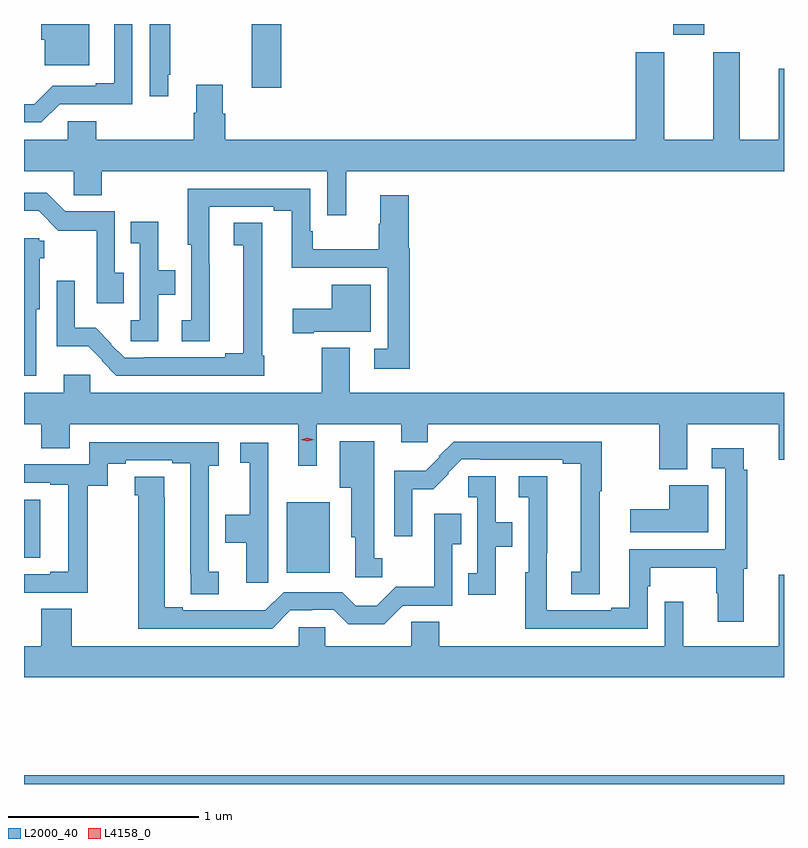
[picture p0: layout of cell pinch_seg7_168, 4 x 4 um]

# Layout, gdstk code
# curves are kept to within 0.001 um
import gdstk
lib = gdstk.Library(unit=1e-6, precision=1e-09)
def R(c, l, rs):  # rectangles x0, y0, x1, y1
    for r in rs: c.add(gdstk.rectangle(r[:2], r[2:], *l))
def P(c, l, *ps):  # polygons
    for p in ps: c.add(gdstk.Polygon(p, *l))
L2000_40 = (2000, 40)
L4158_0 = (4158, 0)

pinch_seg7_168 = lib.new_cell('pinch_seg7_168')
R(pinch_seg7_168, L2000_40, [(1120.076,1033.354,1124.076,1033.4), (1121.459,1034.465,1121.686,1034.836), (1120.076,1034.546,1120.162,1034.851), (1121.275,1037.019,1121.429,1037.354), (1123.493,1037.298,1123.657,1037.354)])
P(pinch_seg7_168, L2000_40, [(1120.42,1037.354),(1120.166,1037.354),(1120.166,1037.271),(1120.184,1037.271),(1120.184,1037.138),(1120.42,1037.138)],
  [(1120.263,1036.932),(1120.647,1036.932),(1120.647,1037.354),(1120.55,1037.354),(1120.55,1037.041),(1120.454,1037.041),(1120.454,1037.028),(1120.227,1037.028),(1120.131,1036.932),(1120.076,1036.932),(1120.076,1036.836),(1120.167,1036.836)],
  [(1120.834,1037.086),(1120.846,1037.086),(1120.846,1037.354),(1120.737,1037.354),(1120.737,1036.974),(1120.834,1036.974)],
  [(1121.771,1036.58),(1124.076,1036.58),(1124.076,1037.119),(1124.048,1037.119),(1124.048,1036.744),(1123.843,1036.744),(1123.843,1037.206),(1123.703,1037.206),(1123.703,1036.744),(1123.447,1036.744),(1123.447,1037.206),(1123.295,1037.206),(1123.295,1036.744),(1121.135,1036.744),(1121.135,1036.881),(1121.122,1036.881),(1121.122,1037.035),(1120.982,1037.035),(1120.982,1036.886),(1120.97,1036.886),(1120.97,1036.744),(1120.457,1036.744),(1120.457,1036.842),(1120.305,1036.842),(1120.305,1036.744),(1120.076,1036.744),(1120.076,1036.58),(1120.338,1036.58),(1120.338,1036.453),(1120.485,1036.453),(1120.485,1036.58),(1121.673,1036.58),(1121.673,1036.347),(1121.771,1036.347)],
  [(1122.107,1036.174),(1122.101,1036.174),(1122.101,1036.453),(1121.951,1036.453),(1121.951,1036.302),(1121.944,1036.302),(1121.944,1036.168),(1121.596,1036.168),(1121.596,1036.264),(1121.583,1036.264),(1121.583,1036.488),(1120.937,1036.488),(1120.937,1036.191),(1120.956,1036.191),(1120.956,1035.796),(1120.905,1035.796),(1120.905,1035.685),(1121.054,1035.685),(1121.054,1036.091),(1121.052,1036.091),(1121.052,1036.392),(1121.39,1036.392),(1121.39,1036.372),(1121.486,1036.372),(1121.486,1036.071),(1121.991,1036.071),(1121.991,1035.645),(1121.919,1035.645),(1121.919,1035.54),(1122.107,1035.54)],
  [(1120.601,1036.046),(1120.554,1036.046),(1120.554,1036.368),(1120.293,1036.368),(1120.196,1036.465),(1120.076,1036.465),(1120.076,1036.37),(1120.154,1036.37),(1120.256,1036.267),(1120.458,1036.267),(1120.458,1035.885),(1120.601,1035.885)],
  [(1120.782,1035.93),(1120.871,1035.93),(1120.871,1036.058),(1120.783,1036.058),(1120.783,1036.312),(1120.639,1036.312),(1120.639,1036.199),(1120.686,1036.199),(1120.686,1035.796),(1120.637,1035.796),(1120.637,1035.685),(1120.782,1035.685)],
  [(1121.341,1035.607),(1121.329,1035.607),(1121.329,1036.307),(1121.181,1036.307),(1121.181,1036.189),(1121.231,1036.189),(1121.231,1035.62),(1121.135,1035.62),(1121.135,1035.6),(1120.705,1035.6),(1120.705,1035.597),(1120.605,1035.597),(1120.533,1035.669),(1120.536,1035.672),(1120.453,1035.755),(1120.344,1035.755),(1120.344,1036.003),(1120.248,1036.003),(1120.248,1035.657),(1120.414,1035.657),(1120.487,1035.584),(1120.484,1035.581),(1120.562,1035.504),(1121.341,1035.504)],
  [(1120.14,1035.852),(1120.159,1035.852),(1120.159,1036.122),(1120.183,1036.122),(1120.183,1036.212),(1120.155,1036.212),(1120.155,1036.227),(1120.076,1036.227),(1120.076,1035.503),(1120.14,1035.503)],
  [(1121.602,1035.734),(1121.902,1035.734),(1121.902,1035.982),(1121.696,1035.982),(1121.696,1035.856),(1121.49,1035.856),(1121.49,1035.727),(1121.602,1035.727)],
  [(1123.567,1035.248),(1124.048,1035.248),(1124.048,1035.06),(1124.076,1035.06),(1124.076,1035.412),(1121.791,1035.412),(1121.791,1035.649),(1121.644,1035.649),(1121.644,1035.412),(1120.425,1035.412),(1120.425,1035.507),(1120.286,1035.507),(1120.286,1035.412),(1120.076,1035.412),(1120.076,1035.248),(1120.166,1035.248),(1120.166,1035.121),(1120.318,1035.121),(1120.318,1035.248),(1121.519,1035.248),(1121.519,1035.03),(1121.616,1035.03),(1121.616,1035.248),(1122.062,1035.248),(1122.062,1035.153),(1122.201,1035.153),(1122.201,1035.248),(1123.42,1035.248),(1123.42,1035.011),(1123.567,1035.011)],
  [(1121.961,1034.541),(1121.92,1034.541),(1121.92,1035.157),(1121.738,1035.157),(1121.738,1034.912),(1121.798,1034.912),(1121.798,1034.652),(1121.819,1034.652),(1121.819,1034.442),(1121.961,1034.442)],
  [(1123.105,1034.896),(1123.117,1034.896),(1123.117,1035.156),(1122.338,1035.156),(1122.26,1035.079),(1122.263,1035.077),(1122.19,1035.004),(1122.024,1035.004),(1122.024,1034.658),(1122.12,1034.658),(1122.12,1034.906),(1122.229,1034.906),(1122.312,1034.988),(1122.309,1034.991),(1122.381,1035.063),(1122.481,1035.063),(1122.481,1035.06),(1122.911,1035.06),(1122.911,1035.04),(1123.007,1035.04),(1123.007,1034.472),(1122.957,1034.472),(1122.957,1034.353),(1123.105,1034.353)],
  [(1121.101,1034.472),(1121.049,1034.472),(1121.049,1035.029),(1121.101,1035.029),(1121.101,1035.153),(1120.419,1035.153),(1120.419,1035.036),(1120.076,1035.036),(1120.076,1034.94),(1120.214,1034.94),(1120.214,1034.928),(1120.31,1034.928),(1120.31,1034.47),(1120.214,1034.47),(1120.214,1034.457),(1120.076,1034.457),(1120.076,1034.361),(1120.412,1034.361),(1120.412,1034.924),(1120.516,1034.924),(1120.516,1035.039),(1120.612,1035.039),(1120.612,1035.057),(1120.856,1035.057),(1120.856,1035.042),(1120.952,1035.042),(1120.952,1034.461),(1120.953,1034.461),(1120.953,1034.353),(1121.101,1034.353)],
  [(1121.362,1035.151),(1121.214,1035.151),(1121.214,1035.045),(1121.264,1035.045),(1121.264,1034.77),(1121.134,1034.77),(1121.134,1034.623),(1121.246,1034.623),(1121.246,1034.412),(1121.362,1034.412)],
  [(1123.359,1034.396),(1123.372,1034.396),(1123.372,1034.492),(1123.72,1034.492),(1123.72,1034.358),(1123.727,1034.358),(1123.727,1034.208),(1123.864,1034.208),(1123.864,1034.486),(1123.883,1034.486),(1123.883,1035.008),(1123.865,1035.008),(1123.865,1035.121),(1123.695,1035.121),(1123.695,1035.015),(1123.767,1035.015),(1123.767,1034.589),(1123.262,1034.589),(1123.262,1034.281),(1123.166,1034.281),(1123.166,1034.268),(1122.828,1034.268),(1122.828,1034.569),(1122.83,1034.569),(1122.83,1034.975),(1122.681,1034.975),(1122.681,1034.864),(1122.732,1034.864),(1122.732,1034.469),(1122.713,1034.469),(1122.713,1034.172),(1123.359,1034.172)],
  [(1122.559,1034.602),(1122.647,1034.602),(1122.647,1034.731),(1122.558,1034.731),(1122.558,1034.975),(1122.413,1034.975),(1122.413,1034.864),(1122.462,1034.864),(1122.462,1034.462),(1122.415,1034.462),(1122.415,1034.349),(1122.559,1034.349)],
  [(1121.478,1034.268),(1121.594,1034.268),(1121.594,1034.271),(1121.706,1034.271),(1121.782,1034.195),(1121.972,1034.195),(1122.069,1034.292),(1122.33,1034.292),(1122.33,1034.615),(1122.377,1034.615),(1122.377,1034.776),(1122.234,1034.776),(1122.234,1034.393),(1122.032,1034.393),(1121.932,1034.293),(1121.822,1034.293),(1121.751,1034.364),(1121.442,1034.364),(1121.347,1034.269),(1120.912,1034.268),(1120.912,1034.283),(1120.816,1034.283),(1120.815,1034.972),(1120.658,1034.972),(1120.658,1034.874),(1120.676,1034.874),(1120.676,1034.172),(1121.382,1034.172)],
  [(1123.678,1034.926),(1123.472,1034.926),(1123.472,1034.8),(1123.266,1034.8),(1123.266,1034.678),(1123.678,1034.678)],
  [(1124.076,1034.455),(1124.048,1034.455),(1124.048,1034.08),(1123.547,1034.08),(1123.547,1034.314),(1123.449,1034.314),(1123.449,1034.08),(1122.261,1034.08),(1122.261,1034.207),(1122.114,1034.207),(1122.114,1034.08),(1121.661,1034.08),(1121.661,1034.178),(1121.523,1034.178),(1121.523,1034.08),(1120.326,1034.08),(1120.326,1034.276),(1120.166,1034.276),(1120.166,1034.08),(1120.076,1034.08),(1120.076,1033.916),(1124.076,1033.916)])
P(pinch_seg7_168, L4158_0, [(1121.568,1035.157),(1121.533,1035.167),(1121.532,1035.167),(1121.533,1035.167),(1121.568,1035.177),(1121.603,1035.167),(1121.603,1035.167),(1121.603,1035.167)])

lib.write_gds('pinch_seg7_168.gds')
